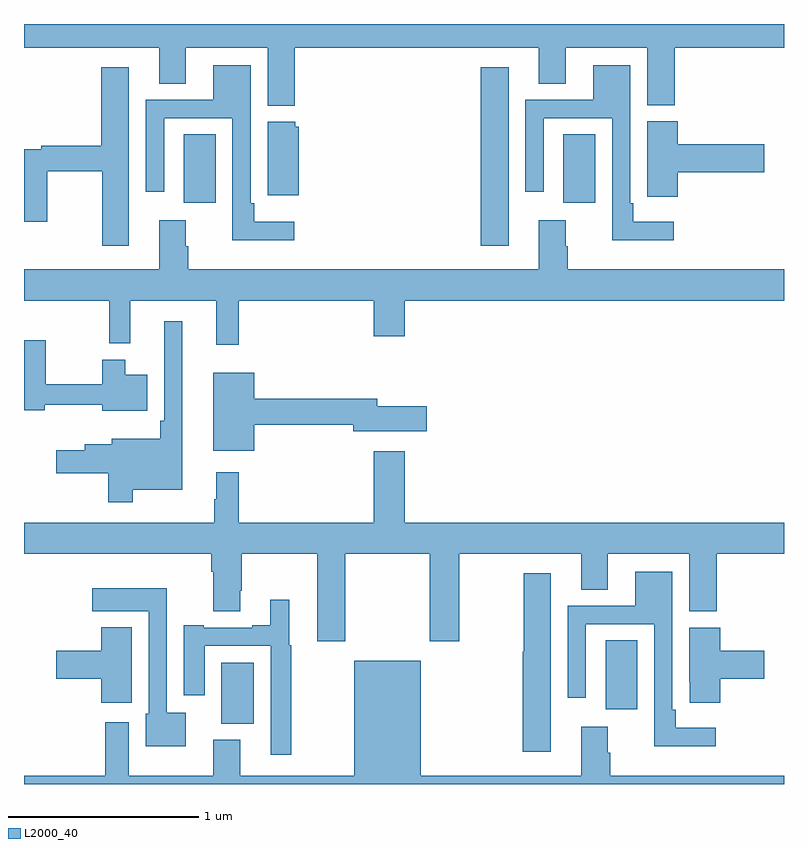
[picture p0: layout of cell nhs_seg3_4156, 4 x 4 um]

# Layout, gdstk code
import gdstk
lib = gdstk.Library(unit=1e-6, precision=1e-09)
def R(c, l, rs):  # rectangles x0, y0, x1, y1
    for r in rs: c.add(gdstk.rectangle(r[:2], r[2:], *l))
def P(c, l, *ps):  # polygons
    for p in ps: c.add(gdstk.Polygon(p, *l))
L2000_40 = (2000, 40)

nhs_seg3_4156 = lib.new_cell('nhs_seg3_4156')
R(nhs_seg3_4156, L2000_40, [(332.039,670.718,332.209,671.038), (334.061,670.794,334.228,671.156), (333.404,673.233,333.55,674.173), (331.841,673.458,332.008,673.82), (333.839,673.458,334.006,673.82)])
P(nhs_seg3_4156, L2000_40, [(332.426,674.276),(333.71,674.276),(333.71,674.086),(333.85,674.086),(333.85,674.276),(334.28,674.276),(334.28,673.972),(334.424,673.972),(334.424,674.276),(335,674.276),(335,674.4),(331,674.4),(331,674.276),(331.712,674.276),(331.712,674.086),(331.852,674.086),(331.852,674.276),(332.282,674.276),(332.282,673.97),(332.426,673.97)],
  [(334.42,673.36),(334.207,673.36),(334.207,673.456),(334.191,673.456),(334.191,674.182),(333.995,674.182),(333.995,674.001),(333.639,674.001),(333.639,673.518),(333.735,673.518),(333.735,673.905),(334.095,673.905),(334.095,673.262),(334.42,673.262)],
  [(332.422,673.36),(332.213,673.36),(332.213,673.456),(332.193,673.456),(332.193,674.182),(331.997,674.182),(331.997,674.001),(331.641,674.001),(331.641,673.518),(331.737,673.518),(331.737,673.905),(332.097,673.905),(332.097,673.262),(332.422,673.262)],
  [(331.552,674.173),(331.406,674.173),(331.406,673.76),(331.09,673.76),(331.09,673.74),(331,673.74),(331,673.359),(331.122,673.359),(331.122,673.624),(331.411,673.624),(331.411,673.233),(331.552,673.233)],
  [(334.442,673.619),(334.897,673.619),(334.897,673.766),(334.442,673.766),(334.442,673.887),(334.28,673.887),(334.28,673.603),(334.281,673.603),(334.281,673.491),(334.442,673.491)],
  [(332.446,673.86),(332.427,673.86),(332.427,673.885),(332.282,673.885),(332.282,673.499),(332.446,673.499)],
  [(333.85,673.229),(333.85,673.366),(333.71,673.366),(333.71,673.108),(331.865,673.108),(331.865,673.229),(331.852,673.229),(331.852,673.366),(331.712,673.366),(331.712,673.108),(331,673.108),(331,672.944),(331.449,672.944),(331.449,672.719),(331.559,672.719),(331.559,672.944),(332.012,672.944),(332.012,672.711),(332.129,672.711),(332.129,672.944),(332.84,672.944),(332.84,672.756),(333.004,672.756),(333.004,672.944),(335,672.944),(335,673.108),(333.863,673.108),(333.863,673.229)],
  [(331.573,671.948),(331.834,671.948),(331.834,672.835),(331.737,672.835),(331.737,672.313),(331.717,672.313),(331.717,672.217),(331.463,672.217),(331.463,672.187),(331.319,672.187),(331.319,672.157),(331.17,672.157),(331.17,672.035),(331.444,672.035),(331.444,671.883),(331.573,671.883)],
  [(331.648,672.553),(331.534,672.553),(331.534,672.634),(331.412,672.634),(331.412,672.505),(331.114,672.505),(331.114,672.736),(331,672.736),(331,672.368),(331.11,672.368),(331.11,672.395),(331.412,672.395),(331.412,672.365),(331.648,672.365)],
  [(332.212,672.292),(332.732,672.292),(332.732,672.257),(333.121,672.257),(333.121,672.387),(332.86,672.387),(332.86,672.428),(332.212,672.428),(332.212,672.565),(331.997,672.565),(331.997,672.155),(332.212,672.155)],
  [(332.691,671.612),(333.136,671.612),(333.136,671.151),(333.291,671.151),(333.291,671.612),(333.932,671.612),(333.932,671.422),(334.072,671.422),(334.072,671.612),(334.502,671.612),(334.502,671.308),(334.646,671.308),(334.646,671.612),(335,671.612),(335,671.776),(333.004,671.776),(333.004,672.151),(332.84,672.151),(332.84,671.776),(332.129,671.776),(332.129,672.04),(332.012,672.04),(332.012,671.9),(332.001,671.9),(332.001,671.776),(331,671.776),(331,671.612),(331.985,671.612),(331.985,671.516),(331.997,671.516),(331.997,671.308),(332.137,671.308),(332.137,671.416),(332.145,671.416),(332.145,671.612),(332.543,671.612),(332.543,671.151),(332.691,671.151)],
  [(334.642,670.696),(334.429,670.696),(334.429,670.792),(334.413,670.792),(334.413,671.518),(334.217,671.518),(334.217,671.337),(333.861,671.337),(333.861,670.854),(333.957,670.854),(333.957,671.241),(334.317,671.241),(334.317,670.598),(334.642,670.598)],
  [(333.772,671.509),(333.631,671.509),(333.631,671.096),(333.626,671.096),(333.626,670.569),(333.772,670.569)],
  [(331.852,670.774),(331.752,670.774),(331.752,671.431),(331.359,671.431),(331.359,671.309),(331.656,671.309),(331.656,670.77),(331.64,670.77),(331.64,670.598),(331.852,670.598)],
  [(332.407,671.13),(332.395,671.13),(332.395,671.371),(332.297,671.371),(332.297,671.236),(332.201,671.236),(332.201,671.223),(331.945,671.223),(331.945,671.236),(331.841,671.236),(331.841,670.866),(331.951,670.866),(331.951,671.127),(332.298,671.127),(332.298,670.554),(332.407,670.554)],
  [(331.567,671.224),(331.406,671.224),(331.406,671.102),(331.17,671.102),(331.17,670.955),(331.406,670.955),(331.406,670.827),(331.567,670.827)],
  [(334.664,670.955),(334.897,670.955),(334.897,671.102),(334.664,671.102),(334.664,671.223),(334.502,671.223),(334.502,670.939),(334.503,670.939),(334.503,670.827),(334.664,670.827)],
  [(335,670.444),(334.085,670.444),(334.085,670.565),(334.072,670.565),(334.072,670.702),(333.932,670.702),(333.932,670.444),(333.088,670.444),(333.088,671.05),(332.738,671.05),(332.738,670.444),(332.137,670.444),(332.137,670.633),(331.997,670.633),(331.997,670.444),(331.552,670.444),(331.552,670.726),(331.427,670.726),(331.427,670.444),(331,670.444),(331,670.4),(335,670.4)])

lib.write_gds('nhs_seg3_4156.gds')
